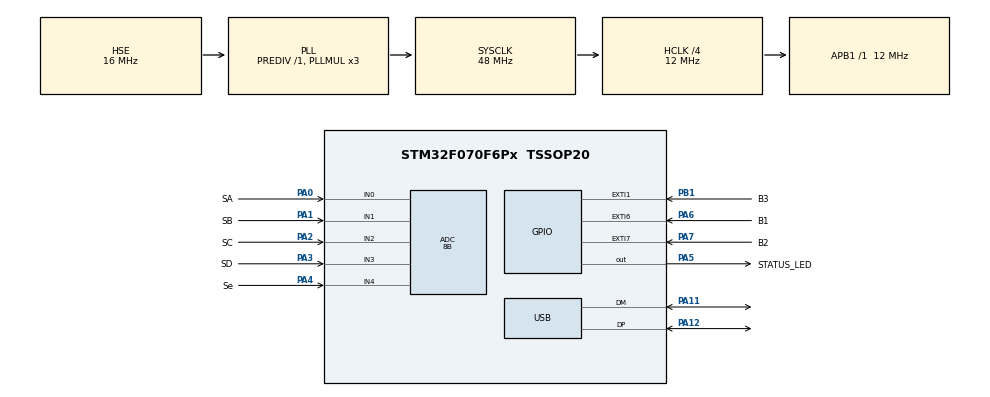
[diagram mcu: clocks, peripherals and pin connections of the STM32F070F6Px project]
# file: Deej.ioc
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ADC.ClockPrescaler=ADC_CLOCK_SYNC_PCLK_DIV2
ADC.ContinuousConvMode=DISABLE
ADC.EOCSelection=ADC_EOC_SINGLE_CONV
ADC.ExternalTrigConv=ADC_SOFTWARE_START
ADC.LowPowerAutoPowerOff=ENABLE
ADC.Resolution=ADC_RESOLUTION_8B
ADC.SamplingTime=ADC_SAMPLETIME_71CYCLES_5
Dma.ADC.0.Direction=DMA_PERIPH_TO_MEMORY
Dma.ADC.0.Instance=DMA1_Channel1
Dma.ADC.0.MemDataAlignment=DMA_MDATAALIGN_BYTE
Dma.ADC.0.MemInc=DMA_MINC_ENABLE
Dma.ADC.0.Mode=DMA_NORMAL
Dma.ADC.0.PeriphDataAlignment=DMA_PDATAALIGN_BYTE
Dma.ADC.0.PeriphInc=DMA_PINC_DISABLE
Dma.ADC.0.Priority=DMA_PRIORITY_LOW
Dma.Request0=ADC
Mcu.Family=STM32F0
Mcu.Name=STM32F070F6Px
Mcu.Package=TSSOP20
NVIC.ADC1_IRQn=true\:0\:0\:false\:false\:true\:true\:true\:true
NVIC.DMA1_Channel1_IRQn=true\:0\:0\:false\:false\:true\:false\:true\:true
NVIC.EXTI0_1_IRQn=true\:0\:0\:false\:false\:true\:true\:true\:true
NVIC.EXTI4_15_IRQn=true\:0\:0\:false\:false\:true\:true\:true\:true
NVIC.TIM3_IRQn=true\:0\:0\:false\:false\:true\:true\:true\:true
NVIC.USB_IRQn=true\:0\:0\:false\:false\:true\:false\:true\:true
PA0.GPIO_Label=SA
PA0.Mode=IN0
PA0.Signal=ADC_IN0
PA1.GPIO_Label=SB
PA1.Mode=IN1
PA1.Signal=ADC_IN1
PA11.Mode=Device
PA11.Signal=USB_DM
PA12.Mode=Device
PA12.Signal=USB_DP
PA13.Mode=Serial_Wire
PA13.Signal=SYS_SWDIO
PA14.Mode=Serial_Wire
PA14.Signal=SYS_SWCLK
PA2.GPIO_Label=SC
PA2.Mode=IN2
PA2.Signal=ADC_IN2
PA3.GPIO_Label=SD
PA3.Mode=IN3
PA3.Signal=ADC_IN3
PA4.GPIO_Label=Se
PA4.Mode=IN4
PA4.Signal=ADC_IN4
PA5.GPIO_Label=STATUS_LED
PA5.Signal=GPIO_Output
PA6.GPIO_Label=B1
PA6.GPIO_ModeDefaultEXTI=GPIO_MODE_IT_RISING_FALLING
PA6.Signal=GPXTI6
PA7.GPIO_Label=B2
PA7.GPIO_ModeDefaultEXTI=GPIO_MODE_IT_RISING_FALLING
PA7.Signal=GPXTI7
PB1.GPIO_Label=B3
PB1.GPIO_ModeDefaultEXTI=GPIO_MODE_IT_RISING_FALLING
PB1.Signal=GPXTI1
PF0-OSC_IN.Mode=HSE-External-Oscillator
PF0-OSC_IN.Signal=RCC_OSC_IN
PF1-OSC_OUT.Mode=HSE-External-Oscillator
PF1-OSC_OUT.Signal=RCC_OSC_OUT
ProjectManager.HeapSize=0x200
ProjectManager.StackSize=0x220
ProjectManager.TargetToolchain=STM32CubeIDE
RCC.AHBCLKDivider=RCC_SYSCLK_DIV4
RCC.AHBFreq_Value=12000000
RCC.APB1Freq_Value=12000000
RCC.APB1TimFreq_Value=12000000
RCC.HCLKFreq_Value=12000000
RCC.HSE_VALUE=16000000
RCC.PLLMUL=RCC_PLL_MUL3
RCC.SYSCLKFreq_VALUE=48000000
RCC.SYSCLKSource=RCC_SYSCLKSOURCE_PLLCLK
TIM3.AutoReloadPreload=TIM_AUTORELOAD_PRELOAD_DISABLE
TIM3.Period=1000
TIM3.Prescaler=1440
USB_DEVICE.APP_RX_DATA_SIZE=128
USB_DEVICE.APP_TX_DATA_SIZE=128
USB_DEVICE.CLASS_NAME_FS=CDC
USB_DEVICE.PRODUCT_STRING_CDC_FS=Deej Controller By Vika.V
USB_DEVICE.USBD_MAX_NUM_CONFIGURATION=1
USB_DEVICE.USBD_MAX_NUM_INTERFACES=1
USB_DEVICE.USBD_MAX_STR_DESC_SIZ=128
USB_DEVICE.VirtualMode=Cdc
USB_DEVICE.VirtualModeFS=Cdc_FS
VP_SYS_VS_PINREMAP.Mode=PINREMAP
VP_TIM3_VS_ClockSourceINT.Mode=Internal
VP_USB_DEVICE_VS_USB_DEVICE_CDC_FS.Mode=CDC_FS
board=custom

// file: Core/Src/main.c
/* USER CODE BEGIN Header */
/**
 ******************************************************************************
 * @file           : main.c
 * @brief          : Main program body
 ******************************************************************************
 * @attention
 *
 * Copyright (c) 2022 STMicroelectronics.
 * All rights reserved.
 *
 * This software is licensed under terms that can be found in the LICENSE file
 * in the root directory of this software component.
 * If no LICENSE file comes with this software, it is provided AS-IS.
 *
 ******************************************************************************
 */
/* USER CODE END Header */
#include "main.h"
#include "usb_device.h"

ADC_HandleTypeDef hadc;
DMA_HandleTypeDef hdma_adc;

TIM_HandleTypeDef htim3;

void SystemClock_Config(void);
static void MX_GPIO_Init(void);
static void MX_DMA_Init(void);
static void MX_ADC_Init(void);
static void MX_TIM3_Init(void);

/* USER CODE BEGIN 0 */

volatile uint8_t adcBuf[6];
const uint8_t adcChannelCount = 5;
volatile uint8_t adcConversionComplete = 1;

// Override the printf to use CDC
int _write(int file, char *ptr, int len) {
	CDC_Transmit_FS(ptr, len);
	return len;
}

/* USER CODE END 0 */

int main(void)
{
  /* USER CODE BEGIN 1 */

	adcBuf[5] = 0;

  /* USER CODE END 1 */

  /* MCU Configuration--------------------------------------------------------*/

  /* Reset of all peripherals, Initializes the Flash interface and the Systick. */
  HAL_Init();

  /* Configure the system clock */
  SystemClock_Config();

  /* Initialize all configured peripherals */
  MX_GPIO_Init();
  MX_DMA_Init();
  MX_ADC_Init();
  MX_USB_DEVICE_Init();
  MX_TIM3_Init();
  /* USER CODE BEGIN 2 */

	if (HAL_TIM_Base_Start_IT(&htim3) != HAL_OK) {
		/* Starting Error */
		Error_Handler();
	}

	HAL_SuspendTick();
	HAL_PWR_EnableSleepOnExit();
	HAL_PWR_EnterSLEEPMode(PWR_MAINREGULATOR_ON, PWR_SLEEPENTRY_WFI);
  /* USER CODE END 2 */

  /* Infinite loop */
	while (1) {

	}
}

void SystemClock_Config(void)
{
  RCC_OscInitTypeDef RCC_OscInitStruct = {0};
  RCC_ClkInitTypeDef RCC_ClkInitStruct = {0};
  RCC_PeriphCLKInitTypeDef PeriphClkInit = {0};

  /** Initializes the RCC Oscillators according to the specified parameters
  * in the RCC_OscInitTypeDef structure.
  */
  RCC_OscInitStruct.OscillatorType = RCC_OSCILLATORTYPE_HSE;
  RCC_OscInitStruct.HSEState = RCC_HSE_ON;
  RCC_OscInitStruct.PLL.PLLState = RCC_PLL_ON;
  RCC_OscInitStruct.PLL.PLLSource = RCC_PLLSOURCE_HSE;
  RCC_OscInitStruct.PLL.PLLMUL = RCC_PLL_MUL3;
  RCC_OscInitStruct.PLL.PREDIV = RCC_PREDIV_DIV1;
  if (HAL_RCC_OscConfig(&RCC_OscInitStruct) != HAL_OK)
  {
    Error_Handler();
  }

  /** Initializes the CPU, AHB and APB buses clocks
  */
  RCC_ClkInitStruct.ClockType = RCC_CLOCKTYPE_HCLK|RCC_CLOCKTYPE_SYSCLK
                              |RCC_CLOCKTYPE_PCLK1;
  RCC_ClkInitStruct.SYSCLKSource = RCC_SYSCLKSOURCE_PLLCLK;
  RCC_ClkInitStruct.AHBCLKDivider = RCC_SYSCLK_DIV4;
  RCC_ClkInitStruct.APB1CLKDivider = RCC_HCLK_DIV1;

  if (HAL_RCC_ClockConfig(&RCC_ClkInitStruct, FLASH_LATENCY_1) != HAL_OK)
  {
    Error_Handler();
  }
  PeriphClkInit.PeriphClockSelection = RCC_PERIPHCLK_USB;
  PeriphClkInit.UsbClockSelection = RCC_USBCLKSOURCE_PLL;

  if (HAL_RCCEx_PeriphCLKConfig(&PeriphClkInit) != HAL_OK)
  {
    Error_Handler();
  }
}

static void MX_ADC_Init(void)
{

  ADC_ChannelConfTypeDef sConfig = {0};

  /** Configure the global features of the ADC (Clock, Resolution, Data Alignment and number of conversion)
  */
  hadc.Instance = ADC1;
  hadc.Init.ClockPrescaler = ADC_CLOCK_SYNC_PCLK_DIV2;
  hadc.Init.Resolution = ADC_RESOLUTION_8B;
  hadc.Init.DataAlign = ADC_DATAALIGN_RIGHT;
  hadc.Init.ScanConvMode = ADC_SCAN_DIRECTION_FORWARD;
  hadc.Init.EOCSelection = ADC_EOC_SINGLE_CONV;
  hadc.Init.LowPowerAutoWait = DISABLE;
  hadc.Init.LowPowerAutoPowerOff = ENABLE;
  hadc.Init.ContinuousConvMode = DISABLE;
  hadc.Init.DiscontinuousConvMode = DISABLE;
  hadc.Init.ExternalTrigConv = ADC_SOFTWARE_START;
  hadc.Init.ExternalTrigConvEdge = ADC_EXTERNALTRIGCONVEDGE_NONE;
  hadc.Init.DMAContinuousRequests = DISABLE;
  hadc.Init.Overrun = ADC_OVR_DATA_PRESERVED;
  if (HAL_ADC_Init(&hadc) != HAL_OK)
  {
    Error_Handler();
  }

  /** Configure for the selected ADC regular channel to be converted.
  */
  sConfig.Channel = ADC_CHANNEL_0;
  sConfig.Rank = ADC_RANK_CHANNEL_NUMBER;
  sConfig.SamplingTime = ADC_SAMPLETIME_71CYCLES_5;
  if (HAL_ADC_ConfigChannel(&hadc, &sConfig) != HAL_OK)
  {
    Error_Handler();
  }

  /** Configure for the selected ADC regular channel to be converted.
  */
  sConfig.Channel = ADC_CHANNEL_1;
  if (HAL_ADC_ConfigChannel(&hadc, &sConfig) != HAL_OK)
  {
    Error_Handler();
  }

  /** Configure for the selected ADC regular channel to be converted.
  */
  sConfig.Channel = ADC_CHANNEL_2;
  if (HAL_ADC_ConfigChannel(&hadc, &sConfig) != HAL_OK)
  {
    Error_Handler();
  }

  /** Configure for the selected ADC regular channel to be converted.
  */
  sConfig.Channel = ADC_CHANNEL_3;
  if (HAL_ADC_ConfigChannel(&hadc, &sConfig) != HAL_OK)
  {
    Error_Handler();
  }

  /** Configure for the selected ADC regular channel to be converted.
  */
  sConfig.Channel = ADC_CHANNEL_4;
  if (HAL_ADC_ConfigChannel(&hadc, &sConfig) != HAL_OK)
  {
    Error_Handler();
  }

}

static void MX_TIM3_Init(void)
{

  TIM_ClockConfigTypeDef sClockSourceConfig = {0};
  TIM_MasterConfigTypeDef sMasterConfig = {0};

  htim3.Instance = TIM3;
  htim3.Init.Prescaler = 1440;
  htim3.Init.CounterMode = TIM_COUNTERMODE_UP;
  htim3.Init.Period = 1000;
  htim3.Init.ClockDivision = TIM_CLOCKDIVISION_DIV1;
  htim3.Init.AutoReloadPreload = TIM_AUTORELOAD_PRELOAD_DISABLE;
  if (HAL_TIM_Base_Init(&htim3) != HAL_OK)
  {
    Error_Handler();
  }
  sClockSourceConfig.ClockSource = TIM_CLOCKSOURCE_INTERNAL;
  if (HAL_TIM_ConfigClockSource(&htim3, &sClockSourceConfig) != HAL_OK)
  {
    Error_Handler();
  }
  sMasterConfig.MasterOutputTrigger = TIM_TRGO_RESET;
  sMasterConfig.MasterSlaveMode = TIM_MASTERSLAVEMODE_DISABLE;
  if (HAL_TIMEx_MasterConfigSynchronization(&htim3, &sMasterConfig) != HAL_OK)
  {
    Error_Handler();
  }

}

static void MX_DMA_Init(void)
{

  /* DMA controller clock enable */
  __HAL_RCC_DMA1_CLK_ENABLE();

  /* DMA interrupt init */
  /* DMA1_Channel1_IRQn interrupt configuration */
  HAL_NVIC_SetPriority(DMA1_Channel1_IRQn, 0, 0);
  HAL_NVIC_EnableIRQ(DMA1_Channel1_IRQn);

}

static void MX_GPIO_Init(void)
{
  GPIO_InitTypeDef GPIO_InitStruct = {0};

  /* GPIO Ports Clock Enable */
  __HAL_RCC_GPIOF_CLK_ENABLE();
  __HAL_RCC_GPIOA_CLK_ENABLE();
  __HAL_RCC_GPIOB_CLK_ENABLE();

  /*Configure GPIO pin Output Level */
  HAL_GPIO_WritePin(STATUS_LED_GPIO_Port, STATUS_LED_Pin, GPIO_PIN_RESET);

  /*Configure GPIO pin : STATUS_LED_Pin */
  GPIO_InitStruct.Pin = STATUS_LED_Pin;
  GPIO_InitStruct.Mode = GPIO_MODE_OUTPUT_PP;
  GPIO_InitStruct.Pull = GPIO_NOPULL;
  GPIO_InitStruct.Speed = GPIO_SPEED_FREQ_LOW;
  HAL_GPIO_Init(STATUS_LED_GPIO_Port, &GPIO_InitStruct);

  /*Configure GPIO pins : B1_Pin B2_Pin */
  GPIO_InitStruct.Pin = B1_Pin|B2_Pin;
  GPIO_InitStruct.Mode = GPIO_MODE_IT_RISING_FALLING;
  GPIO_InitStruct.Pull = GPIO_NOPULL;
  HAL_GPIO_Init(GPIOA, &GPIO_InitStruct);

  /*Configure GPIO pin : B3_Pin */
  GPIO_InitStruct.Pin = B3_Pin;
  GPIO_InitStruct.Mode = GPIO_MODE_IT_RISING_FALLING;
  GPIO_InitStruct.Pull = GPIO_NOPULL;
  HAL_GPIO_Init(B3_GPIO_Port, &GPIO_InitStruct);

  /* EXTI interrupt init*/
  HAL_NVIC_SetPriority(EXTI0_1_IRQn, 0, 0);
  HAL_NVIC_EnableIRQ(EXTI0_1_IRQn);

  HAL_NVIC_SetPriority(EXTI4_15_IRQn, 0, 0);
  HAL_NVIC_EnableIRQ(EXTI4_15_IRQn);

}

/* USER CODE BEGIN 4 */

void HAL_ADC_ConvCpltCallback(ADC_HandleTypeDef *hadc) {
	UNUSED(hadc);
	HAL_GPIO_WritePin(STATUS_LED_GPIO_Port, STATUS_LED_Pin, GPIO_PIN_RESET);
	printf("P%dP%dP%dP%dP%dB%d\n", adcBuf[0], adcBuf[1], adcBuf[2], adcBuf[3],
			adcBuf[4], adcBuf[5]);
	adcConversionComplete = 1;
}

void HAL_TIM_PeriodElapsedCallback(TIM_HandleTypeDef *htim) {

	if (adcConversionComplete) {
		adcConversionComplete = 0;
		HAL_ADC_Start_DMA(&hadc, (uint8_t*) adcBuf, 5);
		HAL_GPIO_WritePin(STATUS_LED_GPIO_Port, STATUS_LED_Pin, GPIO_PIN_SET);
	}

}

void HAL_GPIO_EXTI_Callback(uint16_t GPIO_Pin) {
	uint8_t flag = 0;
	uint8_t bit = 0;
	if (GPIO_Pin == B1_Pin) {
		flag = !HAL_GPIO_ReadPin(B1_GPIO_Port, B1_Pin);
		bit = 0b1;
	} else if (GPIO_Pin == B2_Pin) {
		flag = (!HAL_GPIO_ReadPin(B2_GPIO_Port, B2_Pin)) << 1;
		bit = 0b10;
	} else if ((GPIO_Pin == B3_Pin)) {
		flag = (!HAL_GPIO_ReadPin(B3_GPIO_Port, B3_Pin)) << 2;
		bit = 0b100;
	}
	adcBuf[5] = (adcBuf[5] & ~bit) | flag;
}

/* USER CODE END 4 */

void Error_Handler(void)
{
  /* USER CODE BEGIN Error_Handler_Debug */
	/* User can add his own implementation to report the HAL error return state */
	__disable_irq();
	while (1) {
		HAL_GPIO_TogglePin(STATUS_LED_GPIO_Port, STATUS_LED_Pin);
		HAL_Delay(3000);
	}
  /* USER CODE END Error_Handler_Debug */
}
